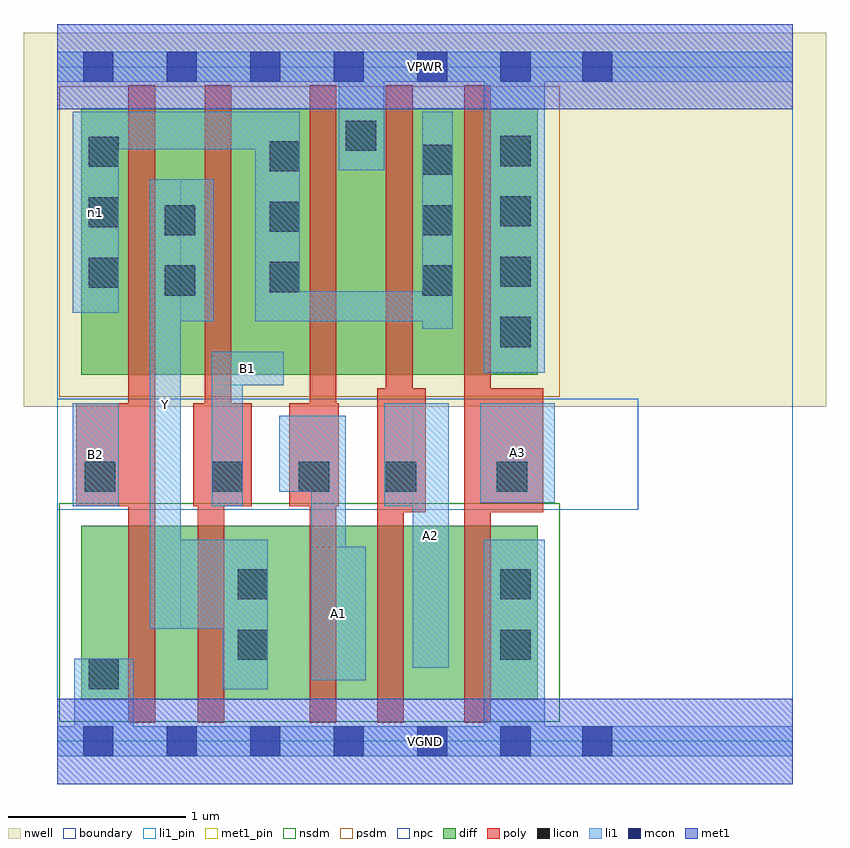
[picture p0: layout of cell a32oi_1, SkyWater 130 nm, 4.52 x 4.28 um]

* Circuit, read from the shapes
.subckt a32oi_1 A1 A2 A3 B1 B2 VGND VPWR Y n1
XM1 n2 B2 VGND VSUBS sky130_fd_pr__nfet_01v8 w=0.98 l=0.15
XM2 Y B1 n2 VSUBS sky130_fd_pr__nfet_01v8 w=0.98 l=0.15
XM3 n3 A1 Y VSUBS sky130_fd_pr__nfet_01v8 w=0.98 l=0.15
XM4 n4 A2 n3 VSUBS sky130_fd_pr__nfet_01v8 w=0.98 l=0.15
XM5 VGND A3 n4 VSUBS sky130_fd_pr__nfet_01v8 w=0.98 l=0.15
XM6 Y B2 n1 n5 sky130_fd_pr__pfet_01v8 w=1.5 l=0.15
XM7 n1 B1 Y n5 sky130_fd_pr__pfet_01v8 w=1.5 l=0.15
XM8 VPWR A1 n1 n5 sky130_fd_pr__pfet_01v8 w=1.5 l=0.15
XM9 n1 A2 VPWR n5 sky130_fd_pr__pfet_01v8 w=1.5 l=0.15
XM10 VPWR A3 n1 n5 sky130_fd_pr__pfet_01v8 w=1.5 l=0.15
.ends

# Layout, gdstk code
import gdstk
lib = gdstk.Library(unit=1e-6, precision=1e-09)
def R(c, l, rs):  # rectangles x0, y0, x1, y1
    for r in rs: c.add(gdstk.rectangle(r[:2], r[2:], *l))
def A(c, l, x, y, w, h, nx, ny, dx, dy):  # array of equal rectangles
    R(c, l, [(x+i*dx, y+j*dy, x+i*dx+w, y+j*dy+h) for i in range(nx) for j in range(ny)])
nwell = (64, 20)
diff = (65, 20)
poly = (66, 20)
licon = (66, 44)
li1_pin = (67, 16)
li1 = (67, 20)
mcon = (67, 44)
met1_pin = (68, 16)
met1 = (68, 20)
nsdm = (93, 44)
psdm = (94, 20)
npc = (95, 20)
boundary = (235, 4)

a32oi_1 = lib.new_cell('a32oi_1')
R(a32oi_1, nwell, [(-0.19,1.885,4.33,3.99), (0,1.885,4.14,3.99)])
R(a32oi_1, diff, [(0.135,0.235,2.705,1.215), (0.135,2.065,2.705,3.565)])
R(a32oi_1, poly, [(0.4,0.105,0.55,3.695), (0.79,0.105,0.94,1.905), (1.42,0.105,1.57,3.695), (1.8,0.105,1.95,1.99), (2.29,0.105,2.44,3.695), (1.8,1.29,2.075,1.99), (1.85,1.29,2,3.695), (2.29,1.29,2.735,1.99), (0.105,1.325,0.55,1.905), (0.765,1.325,1.095,1.905), (0.83,1.325,0.98,3.695), (1.305,1.325,1.585,1.905)])
A(a32oi_1, licon, 0.87, 1.405, 0.17, 0.17, 3, 1, 0.49, 0)
A(a32oi_1, licon, 2.495, 2.22, 0.17, 0.17, 1, 4, 0, 0.34)
A(a32oi_1, licon, 2.055, 2.51, 0.17, 0.17, 1, 3, 0, 0.34)
A(a32oi_1, licon, 1.195, 2.53, 0.17, 0.17, 1, 3, 0, 0.34)
A(a32oi_1, licon, 0.175, 2.555, 0.17, 0.17, 1, 3, 0, 0.34)
R(a32oi_1, licon, [(0.175,0.295,0.345,0.465), (1.015,0.46,1.185,0.63), (2.495,0.46,2.665,0.63), (1.015,0.8,1.185,0.97), (2.495,0.8,2.665,0.97), (0.155,1.405,0.325,1.575), (2.475,1.405,2.645,1.575), (0.605,2.51,0.775,2.68), (0.605,2.85,0.775,3.02), (1.625,3.325,1.795,3.495)])
R(a32oi_1, li1_pin, [(1.43,0.345,1.735,1.095), (2,0.415,2.205,1.905), (0.52,0.635,0.695,3.165), (0.085,1.325,0.345,1.905), (2.38,1.345,2.8,1.905), (0.87,2.005,1.275,2.195)])
R(a32oi_1, li1, [(0,-0.085,4.14,0.085), (0.095,-0.085,0.43,0.465), (2.4,-0.085,2.745,1.135), (0.93,0.295,1.185,1.135), (1.43,0.345,1.625,1.835), (1.43,0.345,1.735,1.095), (2,0.415,2.205,1.905), (0.52,0.635,0.695,3.165), (0.52,0.635,1.185,1.135), (0.085,1.325,0.345,1.905), (0.87,1.325,1.045,2.195), (1.84,1.325,2.205,1.905), (2.38,1.345,2.8,1.905), (1.25,1.405,1.625,1.835), (0.87,2.005,1.275,2.195), (2.4,2.075,2.745,3.885), (2.055,2.325,2.225,3.545), (0.52,2.365,0.88,3.165), (1.115,2.365,2.225,2.535), (1.115,2.365,1.365,3.545), (0.085,2.415,0.345,3.545), (1.585,3.215,1.84,3.885), (0.085,3.335,1.365,3.545), (0,3.715,4.14,3.885)])
A(a32oi_1, mcon, 0.145, -0.085, 0.17, 0.17, 6, 2, 0.47, 3.8)
R(a32oi_1, mcon, [(2.955,-0.085,3.125,0.085), (2.955,3.715,3.125,3.885)])
R(a32oi_1, met1_pin, [(0,-0.24,4.14,0.24), (0,3.56,4.14,4.04)])
R(a32oi_1, met1, [(0,-0.24,4.14,0.24), (0,3.56,4.14,4.04)])
R(a32oi_1, nsdm, [(0.01,0.11,2.83,1.34)])
R(a32oi_1, psdm, [(0.01,1.94,2.83,3.69)])
R(a32oi_1, npc, [(0,1.305,3.27,1.93)])
R(a32oi_1, boundary, [(0,0,4.14,3.8)])
a32oi_1.add(gdstk.Label('A1', (1.582,0.72), layer=67, texttype=5))
a32oi_1.add(gdstk.Label('A2', (2.102,1.16), layer=67, texttype=5))
a32oi_1.add(gdstk.Label('A3', (2.59,1.625), layer=67, texttype=5))
a32oi_1.add(gdstk.Label('B1', (1.072,2.1), layer=67, texttype=5))
a32oi_1.add(gdstk.Label('B2', (0.215,1.615), layer=67, texttype=5))
a32oi_1.add(gdstk.Label('Y', (0.607,1.9), layer=67, texttype=5))
a32oi_1.add(gdstk.Label('n1', (0.215,2.98), layer=67, texttype=5))
a32oi_1.add(gdstk.Label('VPWR', (2.07,3.8), layer=68, texttype=5))
a32oi_1.add(gdstk.Label('VGND', (2.07,0), layer=68, texttype=5))
a32oi_1.add(gdstk.Label('A1', (1.582,0.72), layer=67, texttype=16))
a32oi_1.add(gdstk.Label('A2', (2.102,1.16), layer=67, texttype=16))
a32oi_1.add(gdstk.Label('A3', (2.59,1.625), layer=67, texttype=16))
a32oi_1.add(gdstk.Label('B1', (1.072,2.1), layer=67, texttype=16))
a32oi_1.add(gdstk.Label('B2', (0.215,1.615), layer=67, texttype=16))
a32oi_1.add(gdstk.Label('Y', (0.607,1.9), layer=67, texttype=16))
a32oi_1.add(gdstk.Label('VPWR', (2.07,3.8), layer=68, texttype=16))
a32oi_1.add(gdstk.Label('VGND', (2.07,0), layer=68, texttype=16))

lib.write_gds('a32oi_1.gds')
